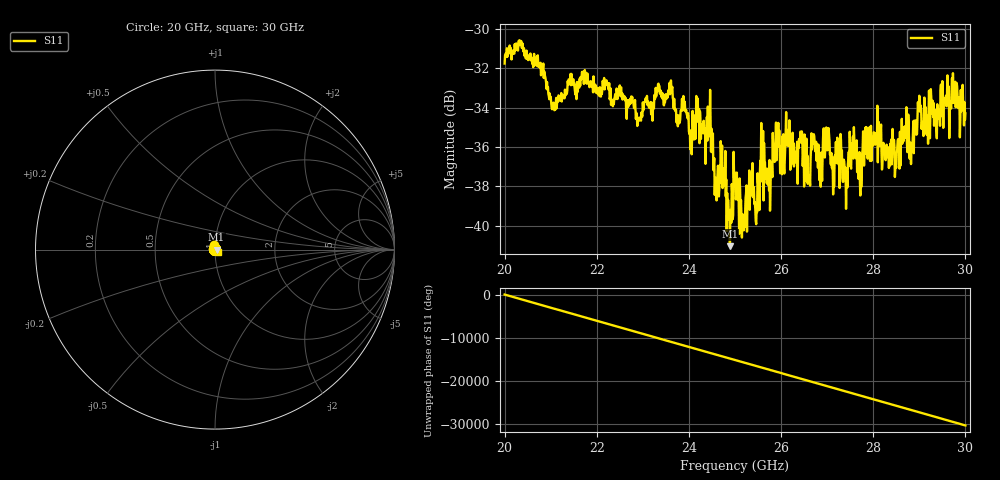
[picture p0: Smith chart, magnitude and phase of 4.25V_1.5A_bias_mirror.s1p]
#  HZ  S  RI  R  50.00
! Rohde & Schwarz ZVA40 4Ports - Version 3.90 - 1145.1110k42 SN: 100403
! Date: 2023-09-26 10:30:34
! Measurement: S12
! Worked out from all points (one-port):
!   1001 points, 20 GHz to 30 GHz, reference 50 ohm
!   lowest |S11| = -41.0 dB at 24.89 GHz (marker M1), VSWR 1.02, Z = 50.9 - j0.108 ohm
!   |S11| at or under -10 dB: start of sweep to end of sweep
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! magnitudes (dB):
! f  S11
! 20 GHz  -31.8
! 20.35 GHz  -30.8
! 21.25 GHz  -33.5
! 22.5 GHz  -32.9
! 22.93 GHz  -34.6
! 23.6 GHz  -33.1
! 23.75 GHz  -34.6
! 24.44 GHz  -35.5
! 24.58 GHz  -37.6
! 24.74 GHz  -37.4
! 24.89 GHz  -41.0
! 25 GHz  -37.9
! 25.17 GHz  -40.2
! 25.36 GHz  -37.8
! 25.48 GHz  -39.3
! 25.6 GHz  -37.0
! 25.76 GHz  -39.2
! 25.92 GHz  -35.7
! 26.25 GHz  -35.3
! 26.44 GHz  -35.8
! 26.58 GHz  -37.9
! 26.7 GHz  -35.5
! 27.01 GHz  -35.3
! 27.39 GHz  -37.5
! 27.5 GHz  -36.0
! 28.75 GHz  -36.2
! 29.76 GHz  -32.8
! 30 GHz  -34.3
